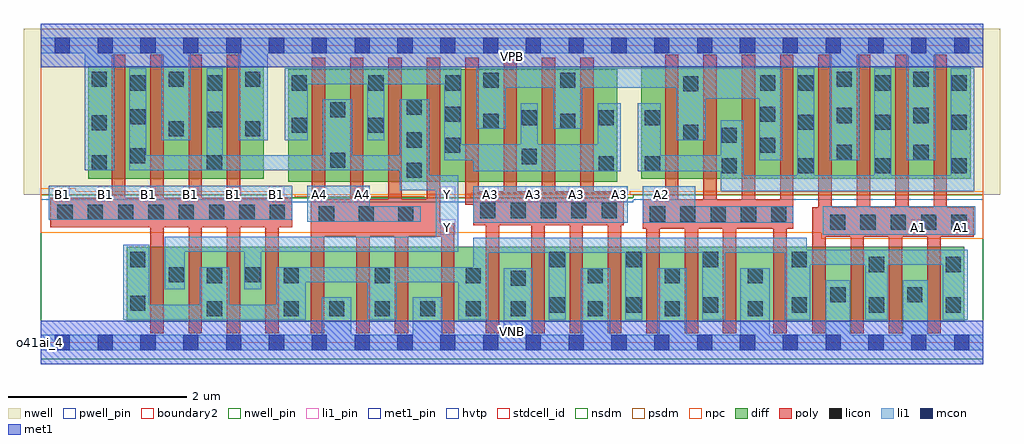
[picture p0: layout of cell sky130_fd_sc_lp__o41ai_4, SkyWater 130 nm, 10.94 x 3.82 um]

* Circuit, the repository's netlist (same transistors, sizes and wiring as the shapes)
* Copyright 2020 The SkyWater PDK Authors
*
* Licensed under the Apache License, Version 2.0 (the "License");
* you may not use this file except in compliance with the License.
* You may obtain a copy of the License at
*
*     https://www.apache.org/licenses/LICENSE-2.0
*
* Unless required by applicable law or agreed to in writing, software
* distributed under the License is distributed on an "AS IS" BASIS,
* WITHOUT WARRANTIES OR CONDITIONS OF ANY KIND, either express or implied.
* See the License for the specific language governing permissions and
* limitations under the License.
*
* SPDX-License-Identifier: Apache-2.0

.SUBCKT sky130_fd_sc_lp__o41ai_4 A1 A2 A3 A4 B1 VGND VNB VPB VPWR Y
*.PININFO A1:I A2:I A3:I A4:I B1:I VGND:I VNB:I VPB:I VPWR:I Y:O
MMPA0 VPWR A1 sndA1 VPB sky130_fd_pr__pfet_01v8_hvt m=4 w=1.26U l=0.15U mult=1
+ sa=0.265 sb=0.265 sd=0.28 area=0.063 perim=1.14
MMPA1 sndA1 A2 sndA2 VPB sky130_fd_pr__pfet_01v8_hvt m=4 w=1.26U l=0.15U mult=1
+ sa=0.265 sb=0.265 sd=0.28 area=0.063 perim=1.14
MMPA2 sndA2 A3 sndA3 VPB sky130_fd_pr__pfet_01v8_hvt m=4 w=1.26U l=0.15U mult=1
+ sa=0.265 sb=0.265 sd=0.28 area=0.063 perim=1.14
MMPA3 sndA3 A4 Y VPB sky130_fd_pr__pfet_01v8_hvt m=4 w=1.26U l=0.15U mult=1 sa=0.265
+ sb=0.265 sd=0.28 area=0.063 perim=1.14
MMPB0 VPWR B1 Y VPB sky130_fd_pr__pfet_01v8_hvt m=4 w=1.26U l=0.15U mult=1 sa=0.265
+ sb=0.265 sd=0.28 area=0.063 perim=1.14
MMNA0 pndA A1 VGND VNB sky130_fd_pr__nfet_01v8 m=4 w=0.84U l=0.15U mult=1 sa=0.265
+ sb=0.265 sd=0.28 area=0.063 perim=1.14
MMNA1 pndA A2 VGND VNB sky130_fd_pr__nfet_01v8 m=4 w=0.84U l=0.15U mult=1 sa=0.265
+ sb=0.265 sd=0.28 area=0.063 perim=1.14
MMNA2 pndA A3 VGND VNB sky130_fd_pr__nfet_01v8 m=4 w=0.84U l=0.15U mult=1 sa=0.265
+ sb=0.265 sd=0.28 area=0.063 perim=1.14
MMNA3 pndA A4 VGND VNB sky130_fd_pr__nfet_01v8 m=4 w=0.84U l=0.15U mult=1 sa=0.265
+ sb=0.265 sd=0.28 area=0.063 perim=1.14
MMNB0 Y B1 pndA VNB sky130_fd_pr__nfet_01v8 m=4 w=0.84U l=0.15U mult=1 sa=0.265
+ sb=0.265 sd=0.28 area=0.063 perim=1.14
.ENDS sky130_fd_sc_lp__o41ai_4

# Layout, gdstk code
import gdstk
lib = gdstk.Library(unit=1e-6, precision=1e-09)
def R(c, l, rs):  # rectangles x0, y0, x1, y1
    for r in rs: c.add(gdstk.rectangle(r[:2], r[2:], *l))
def A(c, l, x, y, w, h, nx, ny, dx, dy):  # array of equal rectangles
    R(c, l, [(x+i*dx, y+j*dy, x+i*dx+w, y+j*dy+h) for i in range(nx) for j in range(ny)])
def P(c, l, *ps):  # polygons
    for p in ps: c.add(gdstk.Polygon(p, *l))
nwell_pin = (64, 16)
nwell = (64, 20)
diff = (65, 20)
poly = (66, 20)
licon = (66, 44)
li1_pin = (67, 16)
li1 = (67, 20)
mcon = (67, 44)
met1_pin = (68, 16)
met1 = (68, 20)
hvtp = (78, 44)
stdcell_id = (81, 4)
nsdm = (93, 44)
psdm = (94, 20)
npc = (95, 20)
pwell_pin = (122, 16)
boundary2 = (236, 0)

sky130_fd_sc_lp__o41ai_4 = lib.new_cell('sky130_fd_sc_lp__o41ai_4')
R(sky130_fd_sc_lp__o41ai_4, nwell_pin, [(0,3.085,10.56,3.33)])
P(sky130_fd_sc_lp__o41ai_4, nwell, [(10.75,3.52),(-0.19,3.52),(-0.19,1.655),(2.59,1.655),(2.59,1.625),(6.64,1.625),(6.64,1.655),(10.75,1.655)])
R(sky130_fd_sc_lp__o41ai_4, diff, [(0.96,0.235,10.35,1.075), (2.77,1.805,6.46,3.065), (0.53,1.835,2.5,3.095), (6.73,1.835,10.42,3.095)])
P(sky130_fd_sc_lp__o41ai_4, poly, [(2.815,1.625),(2.235,1.625),(2.235,3.225),(2.085,3.225),(2.085,1.625),(1.805,1.625),(1.805,3.225),(1.655,3.225),(1.655,1.625),(1.375,1.625),(1.375,3.225),(1.225,3.225),(1.225,1.625),(0.945,1.625),(0.945,3.225),(0.795,3.225),(0.795,1.625),(0.105,1.625),(0.105,1.295),(1.225,1.295),(1.225,0.105),(1.375,0.105),(1.375,1.295),(1.655,1.295),(1.655,0.105),(1.805,0.105),(1.805,1.295),(2.085,1.295),(2.085,0.105),(2.235,0.105),(2.235,1.295),(2.515,1.295),(2.515,0.105),(2.665,0.105),(2.665,1.295),(2.815,1.295)],
  [(4.635,1.335),(4.475,1.335),(4.475,3.195),(4.325,3.195),(4.325,1.605),(4.045,1.605),(4.045,3.195),(3.895,3.195),(3.895,1.605),(3.615,1.605),(3.615,3.195),(3.465,3.195),(3.465,1.605),(3.185,1.605),(3.185,3.195),(3.035,3.195),(3.035,1.605),(3.025,1.605),(3.025,0.105),(3.175,0.105),(3.175,1.185),(3.535,1.185),(3.535,0.105),(3.685,0.105),(3.685,1.185),(3.965,1.185),(3.965,0.105),(4.115,0.105),(4.115,1.185),(4.485,1.185),(4.485,0.105),(4.635,0.105)],
  [(6.535,1.695),(6.195,1.695),(6.195,3.195),(6.045,3.195),(6.045,1.695),(5.765,1.695),(5.765,3.195),(5.615,3.195),(5.615,1.695),(5.335,1.695),(5.335,3.195),(5.185,3.195),(5.185,1.695),(4.905,1.695),(4.905,3.195),(4.755,3.195),(4.755,1.545),(4.845,1.545),(4.845,1.315),(4.985,1.315),(4.985,0.105),(5.135,0.105),(5.135,1.315),(5.495,1.315),(5.495,0.105),(5.645,0.105),(5.645,1.315),(5.925,1.315),(5.925,0.105),(6.075,0.105),(6.075,1.315),(6.355,1.315),(6.355,0.105),(6.505,0.105),(6.505,1.315),(6.535,1.315)],
  [(8.435,3.225),(8.285,3.225),(8.285,1.605),(8.005,1.605),(8.005,3.225),(7.855,3.225),(7.855,1.605),(7.575,1.605),(7.575,3.225),(7.425,3.225),(7.425,1.605),(7.145,1.605),(7.145,3.225),(6.995,3.225),(6.995,1.605),(6.745,1.605),(6.745,1.275),(6.785,1.275),(6.785,0.105),(6.935,0.105),(6.935,1.275),(7.215,1.275),(7.215,0.105),(7.365,0.105),(7.365,1.275),(7.645,1.275),(7.645,0.105),(7.795,0.105),(7.795,1.275),(8.21,1.275),(8.21,0.105),(8.36,0.105),(8.36,1.275),(8.435,1.275)],
  [(10.455,1.515),(10.155,1.515),(10.155,3.225),(10.005,3.225),(10.005,1.515),(9.725,1.515),(9.725,3.225),(9.575,3.225),(9.575,1.515),(9.295,1.515),(9.295,3.225),(9.145,3.225),(9.145,1.515),(8.865,1.515),(8.865,3.225),(8.715,3.225),(8.715,1.515),(8.645,1.515),(8.645,0.105),(8.795,0.105),(8.795,1.185),(9.075,1.185),(9.075,0.105),(9.225,0.105),(9.225,1.185),(9.505,1.185),(9.505,0.105),(9.655,0.105),(9.655,1.185),(9.935,1.185),(9.935,0.105),(10.085,0.105),(10.085,1.185),(10.455,1.185)])
A(sky130_fd_sc_lp__o41ai_4, licon, 2.72, 0.295, 0.17, 0.17, 5, 1, 0.51, 0)
A(sky130_fd_sc_lp__o41ai_4, licon, 5.7, 0.335, 0.17, 0.17, 3, 2, 0.86, 0.51)
A(sky130_fd_sc_lp__o41ai_4, licon, 2.72, 0.665, 0.17, 0.17, 3, 1, 1.02, 0)
A(sky130_fd_sc_lp__o41ai_4, licon, 8.845, 1.265, 0.17, 0.17, 5, 1, 0.34, 0)
A(sky130_fd_sc_lp__o41ai_4, licon, 3.115, 1.355, 0.17, 0.17, 3, 1, 0.445, 0)
A(sky130_fd_sc_lp__o41ai_4, licon, 6.825, 1.355, 0.17, 0.17, 5, 1, 0.34, 0)
A(sky130_fd_sc_lp__o41ai_4, licon, 0.185, 1.375, 0.17, 0.17, 8, 1, 0.34, 0)
A(sky130_fd_sc_lp__o41ai_4, licon, 4.925, 1.395, 0.17, 0.17, 5, 1, 0.34, 0)
A(sky130_fd_sc_lp__o41ai_4, licon, 7.63, 1.895, 0.17, 0.17, 4, 1, 0.86, 0)
A(sky130_fd_sc_lp__o41ai_4, licon, 8.06, 2.125, 0.17, 0.17, 1, 3, 0, 0.35)
A(sky130_fd_sc_lp__o41ai_4, licon, 8.49, 2.385, 0.17, 0.17, 3, 2, 0.86, 0.44)
A(sky130_fd_sc_lp__o41ai_4, licon, 2.81, 2.825, 0.17, 0.17, 3, 1, 0.86, 0)
A(sky130_fd_sc_lp__o41ai_4, licon, 0.57, 2.865, 0.17, 0.17, 3, 1, 0.86, 0)
R(sky130_fd_sc_lp__o41ai_4, licon, [(1.86,0.295,2.03,0.465), (5.265,0.295,5.435,0.465), (6.13,0.295,6.3,0.465), (6.99,0.295,7.16,0.465), (7.92,0.295,8.09,0.465), (8.415,0.335,8.585,0.505), (9.28,0.335,9.45,0.505), (10.14,0.335,10.31,0.505), (1,0.355,1.17,0.525), (8.85,0.45,9.02,0.62), (9.71,0.45,9.88,0.62), (5.265,0.635,5.435,0.805), (1.86,0.665,2.03,0.835), (6.13,0.665,6.3,0.835), (6.99,0.665,7.16,0.835), (7.92,0.665,8.09,0.835), (1.43,0.675,1.6,0.845), (2.29,0.675,2.46,0.845), (9.28,0.79,9.45,0.96), (10.14,0.79,10.31,0.96), (1,0.845,1.17,1.015), (8.415,0.845,8.585,1.015), (4.1,1.845,4.27,2.015), (6.25,1.92,6.42,2.09), (6.77,1.92,6.94,2.09), (0.57,1.93,0.74,2.1), (1.86,1.93,2.03,2.1), (3.24,1.96,3.41,2.13), (5.39,2,5.56,2.17), (1,2.01,1.17,2.18), (8.92,2.045,9.09,2.215), (9.78,2.045,9.95,2.215), (4.53,2.125,4.7,2.295), (4.1,2.185,4.27,2.355), (7.63,2.24,7.8,2.41), (7.2,2.27,7.37,2.44), (1.43,2.31,1.6,2.48), (2.29,2.31,2.46,2.48), (2.81,2.35,2.98,2.52), (3.67,2.35,3.84,2.52), (0.57,2.38,0.74,2.55), (4.96,2.395,5.13,2.565), (5.82,2.395,5.99,2.565), (1.86,2.415,2.03,2.585), (5.39,2.435,5.56,2.605), (6.25,2.435,6.42,2.605), (6.77,2.435,6.94,2.605), (1,2.445,1.17,2.615), (8.92,2.46,9.09,2.63), (9.78,2.46,9.95,2.63), (4.53,2.475,4.7,2.645), (3.24,2.525,3.41,2.695), (4.1,2.555,4.27,2.725), (7.2,2.815,7.37,2.985), (1,2.825,1.17,2.995), (1.86,2.825,2.03,2.995), (4.96,2.855,5.13,3.025), (5.82,2.855,5.99,3.025), (8.92,2.865,9.09,3.035), (9.78,2.865,9.95,3.035)])
A(sky130_fd_sc_lp__o41ai_4, li1_pin, 0.155, 1.58, 0.17, 0.17, 8, 1, 0.48, 0)
A(sky130_fd_sc_lp__o41ai_4, li1_pin, 4.475, 1.58, 0.17, 0.17, 6, 1, 0.48, 0)
R(sky130_fd_sc_lp__o41ai_4, li1_pin, [(4.475,1.21,4.645,1.38), (9.755,1.21,9.925,1.38), (10.235,1.21,10.405,1.38)])
R(sky130_fd_sc_lp__o41ai_4, li1, [(8.765,1.21,10.475,1.525), (4.845,1.345,6.575,1.75), (0.085,1.375,2.815,1.76)])
P(sky130_fd_sc_lp__o41ai_4, li1, [(4.255,1.525),(3.685,1.525),(3.685,1.76),(2.985,1.76),(2.985,1.355),(4.255,1.355)],
  [(10.39,1.04),(8.585,1.04),(8.585,1.175),(4.845,1.175),(4.845,0.845),(2.64,0.845),(2.64,0.425),(2.11,0.425),(2.11,0.845),(1.78,0.845),(1.78,0.425),(1.215,0.425),(1.215,1.095),(0.92,1.095),(0.92,0.255),(2.97,0.255),(2.97,0.675),(3.66,0.675),(3.66,0.255),(3.99,0.255),(3.99,0.675),(4.68,0.675),(4.68,0.255),(5.015,0.255),(5.015,1.005),(5.69,1.005),(5.69,0.255),(5.88,0.255),(5.88,1.005),(6.55,1.005),(6.55,0.255),(6.74,0.255),(6.74,1.005),(7.41,1.005),(7.41,0.255),(7.67,0.255),(7.67,1.005),(8.34,1.005),(8.34,0.255),(8.625,0.255),(8.625,0.87),(9.24,0.87),(9.24,0.255),(9.49,0.255),(9.49,0.87),(10.11,0.87),(10.11,0.255),(10.39,0.255)],
  [(4.675,1.875),(4.35,1.875),(4.35,2.725),(4.02,2.725),(4.02,2.1),(3.49,2.1),(3.49,2.725),(3.16,2.725),(3.16,2.1),(2.04,2.1),(2.04,3.075),(1.86,3.075),(1.86,2.1),(1.18,2.1),(1.18,3.075),(0.99,3.075),(0.99,1.93),(4.02,1.93),(4.02,1.705),(4.425,1.705),(4.425,1.185),(1.385,1.185),(1.385,0.595),(1.61,0.595),(1.61,1.015),(2.28,1.015),(2.28,0.595),(2.47,0.595),(2.47,1.015),(4.675,1.015)],
  [(6.5,2.685),(6.24,2.685),(6.24,2.225),(5.57,2.225),(5.57,2.685),(5.38,2.685),(5.38,2.225),(4.71,2.225),(4.71,3.075),(2.73,3.075),(2.73,2.27),(2.99,2.27),(2.99,2.895),(3.66,2.895),(3.66,2.27),(3.85,2.27),(3.85,2.895),(4.52,2.895),(4.52,2.045),(4.845,2.045),(4.845,1.92),(6.5,1.92)],
  [(10.56,3.415),(0,3.415),(0,3.245),(0.49,3.245),(0.49,1.93),(0.82,1.93),(0.82,3.245),(1.35,3.245),(1.35,2.27),(1.68,2.27),(1.68,3.245),(2.21,3.245),(2.21,2.27),(2.54,2.27),(2.54,3.245),(8.84,3.245),(8.84,2.045),(9.17,2.045),(9.17,3.245),(9.7,3.245),(9.7,2.045),(10.03,2.045),(10.03,3.245),(10.56,3.245)],
  [(8.435,1.525),(7.335,1.525),(7.335,1.75),(6.745,1.75),(6.745,1.345),(8.435,1.345)],
  [(8.31,3.075),(4.88,3.075),(4.88,2.395),(5.21,2.395),(5.21,2.855),(5.74,2.855),(5.74,2.395),(6.07,2.395),(6.07,2.855),(7.12,2.855),(7.12,2.27),(7.45,2.27),(7.45,2.735),(8.05,2.735),(8.05,2.045),(8.31,2.045)],
  [(7.62,2.1),(6.95,2.1),(6.95,2.685),(6.69,2.685),(6.69,1.92),(7.62,1.92)],
  [(10.46,3.075),(10.2,3.075),(10.2,1.875),(9.53,1.875),(9.53,3.075),(9.34,3.075),(9.34,1.875),(8.67,1.875),(8.67,3.075),(8.48,3.075),(8.48,1.875),(7.88,1.875),(7.88,2.49),(7.62,2.49),(7.62,1.695),(10.46,1.695)],
  [(10.56,0.085),(9.94,0.085),(9.94,0.7),(9.66,0.7),(9.66,0.085),(9.07,0.085),(9.07,0.7),(8.795,0.7),(8.795,0.085),(8.17,0.085),(8.17,0.835),(7.84,0.835),(7.84,0.085),(7.24,0.085),(7.24,0.835),(6.91,0.835),(6.91,0.085),(6.38,0.085),(6.38,0.835),(6.05,0.835),(6.05,0.085),(5.515,0.085),(5.515,0.835),(5.185,0.835),(5.185,0.085),(4.5,0.085),(4.5,0.505),(4.17,0.505),(4.17,0.085),(3.48,0.085),(3.48,0.505),(3.15,0.505),(3.15,0.085),(0,0.085),(0,-0.085),(10.56,-0.085)])
A(sky130_fd_sc_lp__o41ai_4, mcon, 0.155, -0.085, 0.17, 0.17, 22, 2, 0.48, 3.33)
R(sky130_fd_sc_lp__o41ai_4, met1_pin, [(0,0,10.56,0.245), (0,3.085,10.56,3.33)])
R(sky130_fd_sc_lp__o41ai_4, met1, [(0,-0.245,10.56,0.245), (0,3.085,10.56,3.575)])
P(sky130_fd_sc_lp__o41ai_4, hvtp, [(10.56,3.33),(0,3.33),(0,1.6),(2.59,1.6),(2.59,1.57),(6.64,1.57),(6.64,1.6),(10.56,1.6)])
R(sky130_fd_sc_lp__o41ai_4, stdcell_id, [(0,0,10.56,3.33)])
P(sky130_fd_sc_lp__o41ai_4, nsdm, [(10.56,1.655),(6.64,1.655),(6.64,1.625),(2.59,1.625),(2.59,1.655),(0,1.655),(0,-0.19),(10.56,-0.19)])
P(sky130_fd_sc_lp__o41ai_4, psdm, [(10.56,3.52),(0,3.52),(0,1.655),(2.845,1.655),(2.845,1.635),(4.31,1.635),(4.31,1.625),(4.815,1.625),(4.815,1.675),(6.565,1.675),(6.565,1.655),(10.56,1.655)])
P(sky130_fd_sc_lp__o41ai_4, npc, [(10.56,1.695),(6.6,1.695),(6.6,1.665),(2.63,1.665),(2.63,1.695),(0.39,1.695),(0.39,1.73),(0,1.73),(0,1.23),(8.745,1.23),(8.745,1.165),(10.56,1.165)])
R(sky130_fd_sc_lp__o41ai_4, pwell_pin, [(0,0,10.56,0.245)])
R(sky130_fd_sc_lp__o41ai_4, boundary2, [(0,0,10.56,3.33)])
sky130_fd_sc_lp__o41ai_4.add(gdstk.Label('VNB', (5.28,0.123), layer=64, texttype=59))
sky130_fd_sc_lp__o41ai_4.add(gdstk.Label('VPB', (5.28,3.208), layer=64, texttype=5))
sky130_fd_sc_lp__o41ai_4.add(gdstk.Label('o41ai_4', (0,0), layer=83, texttype=44))
sky130_fd_sc_lp__o41ai_4.add(gdstk.Label('VPWR', (5.28,3.208), layer=68, texttype=5))
sky130_fd_sc_lp__o41ai_4.add(gdstk.Label('VGND', (5.28,0.123), layer=68, texttype=5))
sky130_fd_sc_lp__o41ai_4.add(gdstk.Label('A1', (9.84,1.295), layer=67, texttype=5))
sky130_fd_sc_lp__o41ai_4.add(gdstk.Label('A1', (10.32,1.295), layer=67, texttype=5))
sky130_fd_sc_lp__o41ai_4.add(gdstk.Label('A2', (6.96,1.665), layer=67, texttype=5))
sky130_fd_sc_lp__o41ai_4.add(gdstk.Label('A3', (5.04,1.665), layer=67, texttype=5))
sky130_fd_sc_lp__o41ai_4.add(gdstk.Label('A3', (5.52,1.665), layer=67, texttype=5))
sky130_fd_sc_lp__o41ai_4.add(gdstk.Label('A3', (6,1.665), layer=67, texttype=5))
sky130_fd_sc_lp__o41ai_4.add(gdstk.Label('A3', (6.48,1.665), layer=67, texttype=5))
sky130_fd_sc_lp__o41ai_4.add(gdstk.Label('A4', (3.12,1.665), layer=67, texttype=5))
sky130_fd_sc_lp__o41ai_4.add(gdstk.Label('A4', (3.6,1.665), layer=67, texttype=5))
sky130_fd_sc_lp__o41ai_4.add(gdstk.Label('B1', (0.24,1.665), layer=67, texttype=5))
sky130_fd_sc_lp__o41ai_4.add(gdstk.Label('B1', (0.72,1.665), layer=67, texttype=5))
sky130_fd_sc_lp__o41ai_4.add(gdstk.Label('B1', (1.2,1.665), layer=67, texttype=5))
sky130_fd_sc_lp__o41ai_4.add(gdstk.Label('B1', (1.68,1.665), layer=67, texttype=5))
sky130_fd_sc_lp__o41ai_4.add(gdstk.Label('B1', (2.16,1.665), layer=67, texttype=5))
sky130_fd_sc_lp__o41ai_4.add(gdstk.Label('B1', (2.64,1.665), layer=67, texttype=5))
sky130_fd_sc_lp__o41ai_4.add(gdstk.Label('Y', (4.56,1.295), layer=67, texttype=5))
sky130_fd_sc_lp__o41ai_4.add(gdstk.Label('Y', (4.56,1.665), layer=67, texttype=5))

lib.write_gds('sky130_fd_sc_lp__o41ai_4.gds')
